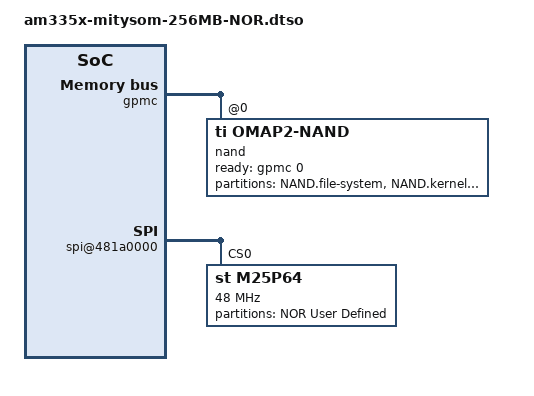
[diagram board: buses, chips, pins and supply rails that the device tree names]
/dts-v1/;
/plugin/;

/* Device Tree Overlay for 256MB 8MB NOR am335x-mitysom */
/ {
	fragment@0 {
		target-path = "/ocp";
		__overlay__ {
			gpmc: gpmc@50000000 {
				pinctrl-names = "default", "sleep";
				pinctrl-0 = <&nandflash_pins_default>;
				pinctrl-1 = <&nandflash_pins_sleep>;
				status = "okay";
				/* The "phandle" property is a 32-bit value that uniquely identifies a node. */
				phandle = <1>;
				ranges = <0x0 0x0 0x8000000 0x10000000>;
				interrupt-controller;
				nand@0,0 {
					compatible = "ti,omap2-nand";
					reg = <0 0 4>; /* CS0, offset 0 IO size 4 */
					interrupt-parent = <0x1>;
					interrupts = <100>;
					ti,nand-ecc-opt = "bch8";      /* from baseboard file */
					ready-gpio = <&gpmc 0 0>;
					ti,elm-id = <&elm>;
					nand-bus-width = <8>;
					gpmc,device-width = <1>;
					gpmc,sync-clk-ps = <0>;
					gpmc,cs-on-ns = <0>;            /* from baseboard file */
					gpmc,cs-rd-off-ns = <44>;       /* from baseboard file */
					gpmc,cs-wr-off-ns = <44>;       /* from baseboard file */
					gpmc,adv-on-ns = <6>;           /* from baseboard file */
					gpmc,adv-rd-off-ns = <34>;      /* from baseboard file */
					gpmc,adv-wr-off-ns = <44>;      /* from baseboard file */
					gpmc,we-on-ns = <0>;
					gpmc,we-off-ns = <40>;          /* from baseboard file */
					gpmc,oe-on-ns = <0>;
					gpmc,oe-off-ns = <54>;          /* from baseboard file */
					gpmc,access-ns = <64>;          /* from baseboard file */
					gpmc,rd-cycle-ns = <82>;        /* from baseboard file */
					gpmc,wr-cycle-ns = <82>;        /* from baseboard file */
					gpmc,wait-on-read = "true";
					gpmc,wait-on-write = "true";
					gpmc,bus-turnaround-ns = <0>;
					gpmc,cycle2cycle-delay-ns = <0>;
					gpmc,clk-activation-ns = <0>;
					gpmc,wait-monitoring-ns = <0>;
					gpmc,wr-access-ns = <40>;       /* from baseboard file */
					gpmc,wr-data-mux-bus-ns = <0>;
					/* MTD partition table */
					/* All SPL-* partitions are sized to minimal length
					/* which can be independently programmable. For 
					/* NAND flash this is equal to size of erase-block */
					#address-cells = <1>;
					#size-cells = <1>;
					partition@8 {
						label = "NAND.file-system";
						reg = <0x00780000 0x0F840000>;
					};
					partition@7 {
						label = "NAND.kernel";
						reg = <0x00280000 0x00500000>;
					};
					partition@6 {
						label = "NAND.u-boot-env";
						reg = <0x00260000 0x00020000>;
					};
					partition@5 {
						label = "NAND.u-boot";
						reg = <0x00080000 0x001E0000>;
					};
					partition@4 {
						label = "NAND.SPL.backup3";
						reg = <0x00060000 0x00020000>;
					};
					partition@3 {
						label = "NAND.SPL.backup2";
						reg = <0x00040000 0x00020000>;
					};
					partition@2 {
						label = "NAND.SPL.backup1";
						reg = <0x00020000 0x00020000>;
					};
					partition@1 {
						label = "NAND.SPL";
						reg = <0x00000000 0x00020000>;
					};
				};
			};
		};
	};

	fragment@1 {
		target-path = "/ocp/l4_wkup@44c00000/scm@210000/pinmux@800";
		__overlay__{
			nandflash_pins_default: nandflash_pins_default {
				phandle = <2>;
			};
		};
	};

	fragment@2 {
		target-path = "/ocp/l4_wkup@44c00000/scm@210000/pinmux@800";
		__overlay__{
			nandflash_pins_sleep: nandflash_pins_sleep{
			phandle = <3>;
			};
		};
	};

	fragment@3 {
		target-path = "/ocp";
		__overlay__ {
			elm: elm@48080000{
				phandle = <4>;
			};
		};
	};

	fragment@4 {
	target-path = "/ocp/spi@481a0000";
		__overlay__ {
			m25p64@0{
				#address-cells = <1>;
				#size-cells = <1>;
				reg = <0x0 0x0>;
				compatible = "st,m25p64";
				spi-max-frequency = <48000000>;
				spi-cpol;
				spi-cpha;
				partition@0 {
					label = "NOR User Defined";
					reg   = <0x0 0x800000>;
				};
			};
		};
	};
};
